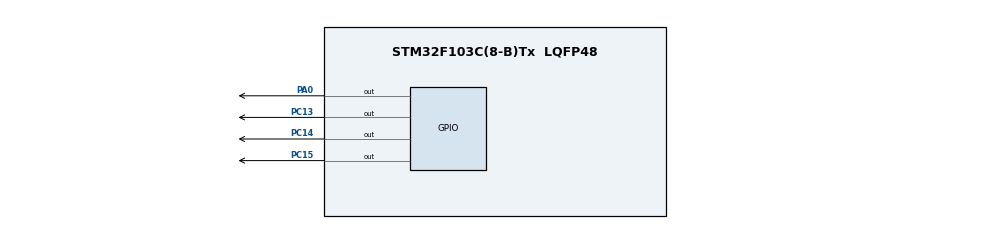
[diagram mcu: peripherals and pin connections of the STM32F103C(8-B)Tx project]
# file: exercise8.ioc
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FREERTOS.BinarySemaphores01=CriticalResourceSemaphore,Dynamic,NULL,Available
FREERTOS.Tasks01=defaultTask,24,128,StartDefaultTask,Default,NULL,Dynamic,NULL,NULL;redLed,24,128,RedLED,Default,NULL,Dynamic,NULL,NULL;greenLed,24,128,GreenLED,Default,NULL,Dynamic,NULL,NULL;orangeLed,32,128,OrangeLED,Default,NULL,Dynamic,NULL,NULL
Mcu.Family=STM32F1
Mcu.Name=STM32F103C(8-B)Tx
Mcu.Package=LQFP48
NVIC.PriorityGroup=NVIC_PRIORITYGROUP_4
NVIC.TIM4_IRQn=true\:15\:0\:false\:false\:true\:false\:false\:true\:true
NVIC.TimeBase=TIM4_IRQn
NVIC.TimeBaseIP=TIM4
PA0-WKUP.Signal=GPIO_Output
PA13.Mode=Trace_Asynchronous_SW
PA13.Signal=SYS_JTMS-SWDIO
PA14.Mode=Trace_Asynchronous_SW
PA14.Signal=SYS_JTCK-SWCLK
PB3.Mode=Trace_Asynchronous_SW
PB3.Signal=SYS_JTDO-TRACESWO
PC13-TAMPER-RTC.Signal=GPIO_Output
PC14-OSC32_IN.Signal=GPIO_Output
PC15-OSC32_OUT.Signal=GPIO_Output
ProjectManager.HeapSize=0x200
ProjectManager.StackSize=0x400
ProjectManager.TargetToolchain=STM32CubeIDE
RCC.APB1Freq_Value=8000000
RCC.APB2Freq_Value=8000000
VP_FREERTOS_VS_CMSIS_V2.Mode=CMSIS_V2
VP_SYS_VS_tim4.Mode=TIM4
board=custom

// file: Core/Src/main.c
/* USER CODE BEGIN Header */
/**
  ******************************************************************************
  * @file           : main.c
  * @brief          : Main program body
  ******************************************************************************
  * @attention
  *
  * Copyright (c) 2024 STMicroelectronics.
  * All rights reserved.
  *
  * This software is licensed under terms that can be found in the LICENSE file
  * in the root directory of this software component.
  * If no LICENSE file comes with this software, it is provided AS-IS.
  *
  ******************************************************************************
  */
/* USER CODE END Header */
#include "main.h"
#include "cmsis_os.h"
#include "task.h"

/* Definitions for defaultTask */
osThreadId_t defaultTaskHandle;
const osThreadAttr_t defaultTask_attributes = {
  .name = "defaultTask",
  .stack_size = 128 * 4,
  .priority = (osPriority_t) osPriorityNormal,
};
/* Definitions for redLed */
osThreadId_t redLedHandle;
const osThreadAttr_t redLed_attributes = {
  .name = "redLed",
  .stack_size = 128 * 4,
  .priority = (osPriority_t) osPriorityNormal,
};
/* Definitions for greenLed */
osThreadId_t greenLedHandle;
const osThreadAttr_t greenLed_attributes = {
  .name = "greenLed",
  .stack_size = 128 * 4,
  .priority = (osPriority_t) osPriorityNormal,
};
/* Definitions for orangeLed */
osThreadId_t orangeLedHandle;
const osThreadAttr_t orangeLed_attributes = {
  .name = "orangeLed",
  .stack_size = 128 * 4,
  .priority = (osPriority_t) osPriorityAboveNormal,
};
/* Definitions for CriticalResourceSemaphore */
osSemaphoreId_t CriticalResourceSemaphoreHandle;
const osSemaphoreAttr_t CriticalResourceSemaphore_attributes = {
  .name = "CriticalResourceSemaphore"
};
/* USER CODE BEGIN PV */
uint8_t StartFlag; // 1 means Up, 0 means Down
volatile uint8_t RedFlag; // 1 means Up, 0 means Down
volatile uint8_t GreenFlag; // 1 means Up, 0 means Down
uint16_t WaitTimeMilliseconds = 550;
/* USER CODE END PV */

void SystemClock_Config(void);
static void MX_GPIO_Init(void);
void StartDefaultTask(void *argument);
void RedLED(void *argument);
void GreenLED(void *argument);
void OrangeLED(void *argument);

int main(void)
{

  /* USER CODE BEGIN 1 */
	StartFlag = 1;
	GreenFlag = 1;
	RedFlag = 1;
  /* USER CODE END 1 */

  /* MCU Configuration--------------------------------------------------------*/

  /* Reset of all peripherals, Initializes the Flash interface and the Systick. */
  HAL_Init();

  /* Configure the system clock */
  SystemClock_Config();

  /* Initialize all configured peripherals */
  MX_GPIO_Init();
  HAL_GPIO_WritePin(GPIOC, GPIO_PIN_13, GPIO_PIN_SET);

  /* Init scheduler */
  osKernelInitialize();

  /* Create the semaphores(s) */
  /* creation of CriticalResourceSemaphore */
  CriticalResourceSemaphoreHandle = osSemaphoreNew(1, 1, &CriticalResourceSemaphore_attributes);

  /* Create the thread(s) */
  /* creation of defaultTask */
  defaultTaskHandle = osThreadNew(StartDefaultTask, NULL, &defaultTask_attributes);

  /* creation of redLed */
  redLedHandle = osThreadNew(RedLED, NULL, &redLed_attributes);

  /* creation of greenLed */
  greenLedHandle = osThreadNew(GreenLED, NULL, &greenLed_attributes);

  /* creation of orangeLed */
  orangeLedHandle = osThreadNew(OrangeLED, NULL, &orangeLed_attributes);

  /* Start scheduler */
  osKernelStart();

  /* We should never get here as control is now taken by the scheduler */

  /* Infinite loop */
  while (1)
  {

  }
}

void SystemClock_Config(void)
{
  RCC_OscInitTypeDef RCC_OscInitStruct = {0};
  RCC_ClkInitTypeDef RCC_ClkInitStruct = {0};

  /** Initializes the RCC Oscillators according to the specified parameters
  * in the RCC_OscInitTypeDef structure.
  */
  RCC_OscInitStruct.OscillatorType = RCC_OSCILLATORTYPE_HSI;
  RCC_OscInitStruct.HSIState = RCC_HSI_ON;
  RCC_OscInitStruct.HSICalibrationValue = RCC_HSICALIBRATION_DEFAULT;
  RCC_OscInitStruct.PLL.PLLState = RCC_PLL_NONE;
  if (HAL_RCC_OscConfig(&RCC_OscInitStruct) != HAL_OK)
  {
    Error_Handler();
  }

  /** Initializes the CPU, AHB and APB buses clocks
  */
  RCC_ClkInitStruct.ClockType = RCC_CLOCKTYPE_HCLK|RCC_CLOCKTYPE_SYSCLK
                              |RCC_CLOCKTYPE_PCLK1|RCC_CLOCKTYPE_PCLK2;
  RCC_ClkInitStruct.SYSCLKSource = RCC_SYSCLKSOURCE_HSI;
  RCC_ClkInitStruct.AHBCLKDivider = RCC_SYSCLK_DIV1;
  RCC_ClkInitStruct.APB1CLKDivider = RCC_HCLK_DIV1;
  RCC_ClkInitStruct.APB2CLKDivider = RCC_HCLK_DIV1;

  if (HAL_RCC_ClockConfig(&RCC_ClkInitStruct, FLASH_LATENCY_0) != HAL_OK)
  {
    Error_Handler();
  }
}

static void MX_GPIO_Init(void)
{
  GPIO_InitTypeDef GPIO_InitStruct = {0};

  /* GPIO Ports Clock Enable */
  __HAL_RCC_GPIOC_CLK_ENABLE();
  __HAL_RCC_GPIOA_CLK_ENABLE();
  __HAL_RCC_GPIOB_CLK_ENABLE();

  /*Configure GPIO pin Output Level */
  HAL_GPIO_WritePin(GPIOC, GPIO_PIN_13|GPIO_PIN_14|GPIO_PIN_15, GPIO_PIN_RESET);

  /*Configure GPIO pin Output Level */
  HAL_GPIO_WritePin(GPIOA, GPIO_PIN_0, GPIO_PIN_RESET);

  /*Configure GPIO pins : PC13 PC14 PC15 */
  GPIO_InitStruct.Pin = GPIO_PIN_13|GPIO_PIN_14|GPIO_PIN_15;
  GPIO_InitStruct.Mode = GPIO_MODE_OUTPUT_PP;
  GPIO_InitStruct.Pull = GPIO_NOPULL;
  GPIO_InitStruct.Speed = GPIO_SPEED_FREQ_LOW;
  HAL_GPIO_Init(GPIOC, &GPIO_InitStruct);

  /*Configure GPIO pin : PA0 */
  GPIO_InitStruct.Pin = GPIO_PIN_0;
  GPIO_InitStruct.Mode = GPIO_MODE_OUTPUT_PP;
  GPIO_InitStruct.Pull = GPIO_NOPULL;
  GPIO_InitStruct.Speed = GPIO_SPEED_FREQ_LOW;
  HAL_GPIO_Init(GPIOA, &GPIO_InitStruct);

}

void StartDefaultTask(void *argument)
{
  for(;;)
  {
    osDelay(1);
  }
}

void RedLED(void *argument)
{
  /* USER CODE BEGIN RedLED */
  /* Infinite loop */
  for(;;)
  {
      RedFlag = 1;
      // Turn on Red LED
      HAL_GPIO_WritePin(GPIOC, GPIO_PIN_15, GPIO_PIN_SET);

      // Enter critical section
      osSemaphoreAcquire(CriticalResourceSemaphoreHandle,WaitTimeMilliseconds);
      AccessSharedData();
      osSemaphoreRelease (CriticalResourceSemaphoreHandle);

      // Turn off Red LED
      osDelay(550);
      HAL_GPIO_WritePin(GPIOC, GPIO_PIN_15, GPIO_PIN_RESET);

      RedFlag = 0;
      // Delay for 100 milliseconds
      osDelay(550);
  }
  /* USER CODE END RedLED */
}

void GreenLED(void *argument)
{
  /* USER CODE BEGIN GreenLED */
  /* Infinite loop */
  for(;;)
  {
	  GreenFlag = 1;
	  // Turn on Green LED
	  HAL_GPIO_WritePin(GPIOC, GPIO_PIN_14, GPIO_PIN_SET);

	  // Enter critical section
	  osSemaphoreAcquire(CriticalResourceSemaphoreHandle,WaitTimeMilliseconds);
	  AccessSharedData();
	  osSemaphoreRelease (CriticalResourceSemaphoreHandle);

	  // Turn off Green LED
	  osDelay(200);
	  HAL_GPIO_WritePin(GPIOC, GPIO_PIN_14, GPIO_PIN_RESET);

	  GreenFlag = 0;
	  // Delay for 500 milliseconds
	  osDelay(200);
  }
  /* USER CODE END GreenLED */
}

void AccessSharedData(void) {
    if (StartFlag == 1) {
        // Set Start flag to Down to indicate resource is in use
        StartFlag = 0;
    } else {
        // Resource contention: Turn on Blue LED
        HAL_GPIO_WritePin(GPIOC, GPIO_PIN_13, GPIO_PIN_RESET);
    }

    // Simulate read/write operations with a delay of 500 milliseconds
    // SimulateReadWriteOperation();
    HAL_Delay(500);

    // Set Start flag back to Up to indicate resource is free
    StartFlag = 1;

    // Turn off Blue LED (if it was turned on during contention)
    HAL_GPIO_WritePin(GPIOC, GPIO_PIN_13, GPIO_PIN_SET);
}

void SimulateReadWriteOperation(void) {
    volatile uint32_t delay_count = 0;
    const uint32_t delay_target = 5000000; // Adjust this value to approximate 500 ms

    // Dummy loop to simulate processing time
    for (delay_count = 0; delay_count < delay_target; delay_count++) {
        __asm("nop"); // No Operation: Keeps the processor busy without changing code behavior
    }
}

void OrangeLED(void *argument)
{
  /* USER CODE BEGIN OrangeLED */
  /* Infinite loop */
  for(;;)
  {
	HAL_GPIO_TogglePin(GPIOA, GPIO_PIN_0);
    osDelay(50);
  }
  /* USER CODE END OrangeLED */
}

void HAL_TIM_PeriodElapsedCallback(TIM_HandleTypeDef *htim)
{
  if (htim->Instance == TIM4) {
    HAL_IncTick();
  }
}

void Error_Handler(void)
{
  __disable_irq();
  while (1)
  {
  }
}
